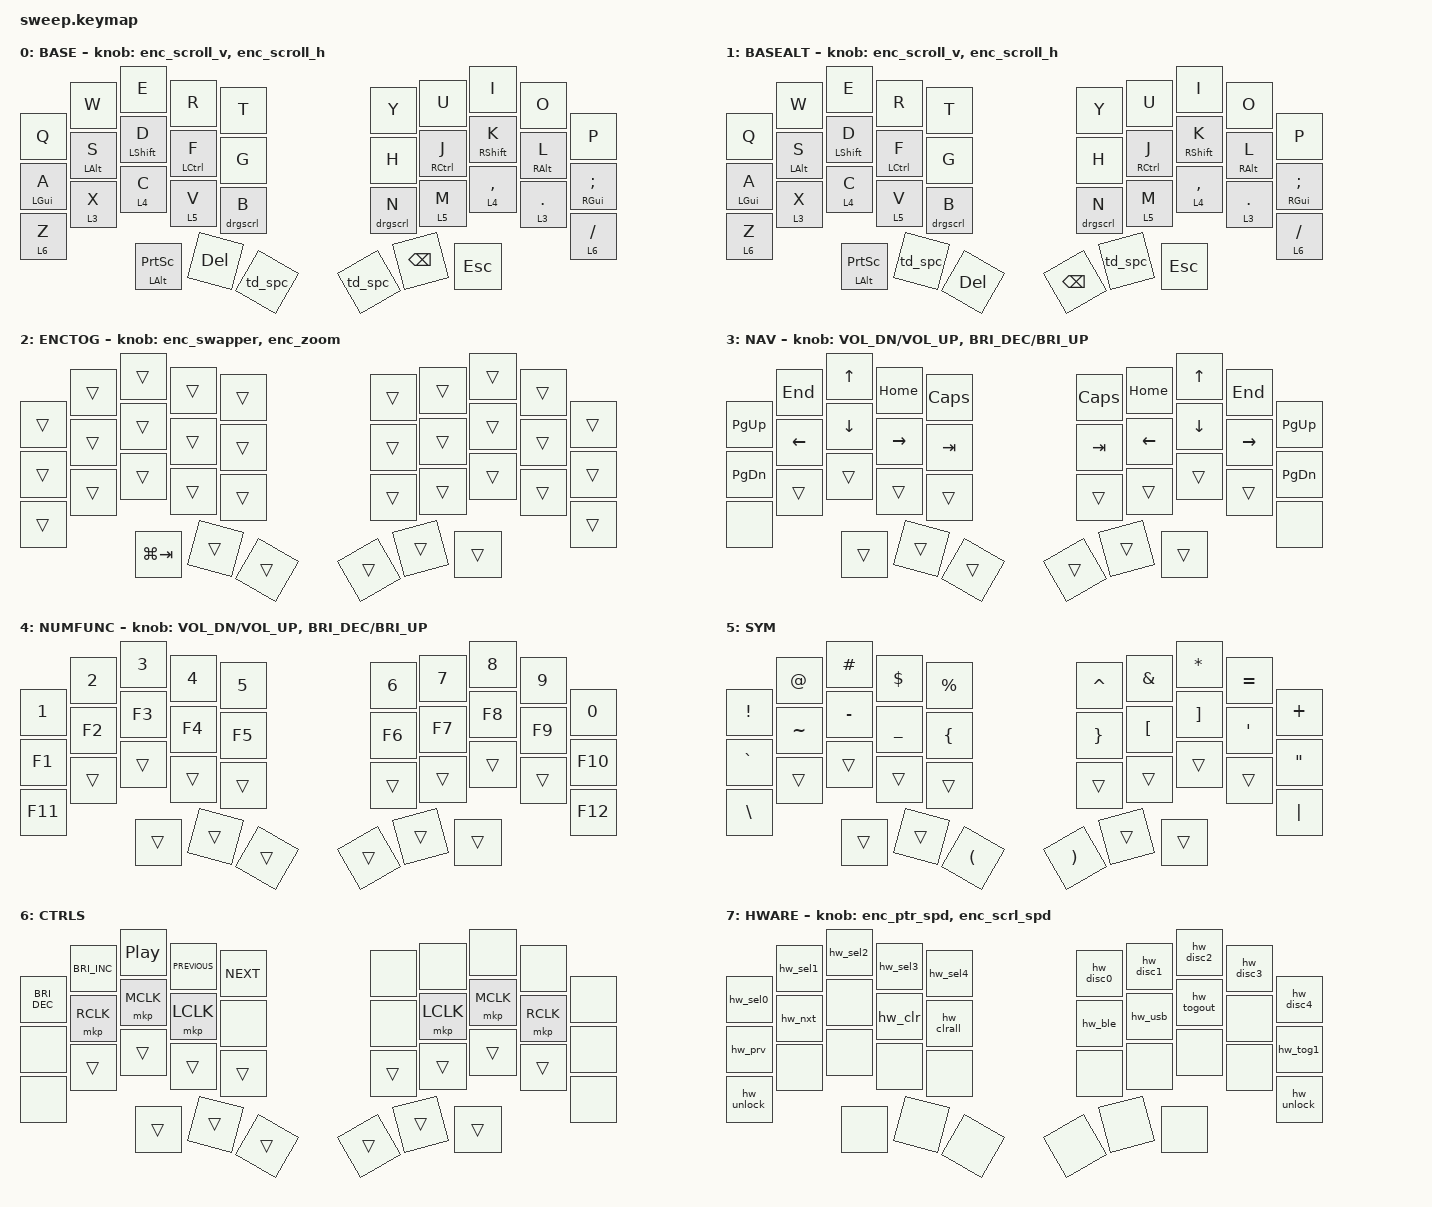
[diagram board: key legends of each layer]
// Copyright (c) 2022 The ZMK Contributors
// SPDX-License-Identifier: MIT

#define ZMK_POINTING_DEFAULT_MOVE_VAL 2500
#define ZMK_POINTING_DEFAULT_SCRL_VAL 240

#include <behaviors.dtsi>
#include <dt-bindings/zmk/bt.h>
#include <dt-bindings/zmk/keys.h>
#include <dt-bindings/zmk/outputs.h>
#include <dt-bindings/zmk/pointing.h>
#include "behaviors/character_map.dtsi"
#include "behaviors/report.dtsi"

// ─── Layer indices ────────────────────────────────────────────────────────────

#define WIN    0   // Base – WIN variant (Ctrl=F/J, GUI=D/K)
#define MAC    1   // Base – QWERTY, GACS home row mods (Mac: Ctrl=D/K, GUI=F/J)
#define ENCTOG 2   // Encoder-alternate (all-trans, sensor-bindings only)
#define NAV    3   // Navigation / arrows  (hold left inner thumb)
#define NUM    4   // Numbers / F-keys     (hold right inner thumb)
#define SYM    5   // Symbols              (tri-layer: NAV+NUM)
#define MOUSE  6   // Mouse / trackpad     (toggle)
#define HWARE  7   // Hardware / BT / output

// ─── Pointing speed constants ─────────────────────────────────────────────────

#define SPEED_POINTER   0
#define SPEED_SCROLL    1
#define SPEED_PREV      0
#define SPEED_NEXT      1
#define SPEED_RESET     2
#define SPEED_FINE_PREV 3
#define SPEED_FINE_NEXT 4

// ─── Cirque mode constants ────────────────────────────────────────────────────

#define CIRQUE_MODE_RELATIVE 0
#define CIRQUE_MODE_ABSOLUTE 1
#define CIRQUE_MODE_TOGGLE   2

&sensors {
    left_encoder { triggers-per-rotation = <15>; };

    right_encoder { triggers-per-rotation = <45>; };
};

&glidepoint_listener { input-processors = <&pointer_processor 0 0 &drag_scroll_processor 1 6>; };

/ {
    // ─── Input processors ─────────────────────────────────────────────────────

    pointer_processor: pointer_processor {
        compatible = "zmk,input-processor-pointer-speed";
        #input-processor-cells = <2>;
        track-remainders;
        pointer-curve = "adaptive";
        pointer-curve-deadzone = <0>;
        pointer-curve-accel-multiplier = <1>;
        pointer-curve-accel-divisor = <24>;
        pointer-curve-max-delta = <64>;
        one-x-multiplier = <1>;
        one-x-divisor = <1>;
        min-percent = <25>;
        max-percent = <400>;
        initial-speed-position = <50>;
    };

    drag_scroll_processor: drag_scroll_processor {
        compatible = "zmk,input-processor-drag-scroll";
        #input-processor-cells = <2>;
        track-remainders;
        native-wheel-axis = "horizontal-when-enabled";
        scroll-min-step = <1>;
        one-x-multiplier = <1>;
        one-x-divisor = <1>;
        min-percent = <10>;
        max-percent = <1000>;
        initial-speed-position = <50>;
    };

    macros {
        macro_zoom_in: macro_zoom_in {
            compatible = "zmk,behavior-macro";
            #binding-cells = <0>;
            wait-ms = <30>;
            tap-ms = <50>;
            bindings
                = <&macro_press &kp LCTRL>
                , <&macro_tap &msc SCRL_UP>
                , <&macro_release &kp LCTRL>
                ;
        };

        macro_zoom_out: macro_zoom_out {
            compatible = "zmk,behavior-macro";
            #binding-cells = <0>;
            wait-ms = <30>;
            tap-ms = <50>;
            bindings
                = <&macro_press &kp LCTRL>
                , <&macro_tap &msc SCRL_DOWN>
                , <&macro_release &kp LCTRL>
                ;
        };

        // ─── HWARE self-exit macros ───────────────────────────────────────────
        // Each macro performs its hardware action, then taps &tog HWARE to turn
        // the HWARE toggle back off. This guarantees the layer is dismissed even
        // for non-keycode behaviors (&bt/&out/&tog/&studio_unlock), which ZMK's
        // sticky-key/auto-layer could not detect (they only see HID keycodes).

        hw_sel0: hw_sel0 {
            compatible = "zmk,behavior-macro";
            #binding-cells = <0>;
            wait-ms = <10>;
            tap-ms = <10>;
            bindings = <&macro_tap &bt BT_SEL 0>, <&macro_tap &tog HWARE>;
        };
        hw_sel1: hw_sel1 {
            compatible = "zmk,behavior-macro";
            #binding-cells = <0>;
            wait-ms = <10>;
            tap-ms = <10>;
            bindings = <&macro_tap &bt BT_SEL 1>, <&macro_tap &tog HWARE>;
        };
        hw_sel2: hw_sel2 {
            compatible = "zmk,behavior-macro";
            #binding-cells = <0>;
            wait-ms = <10>;
            tap-ms = <10>;
            bindings = <&macro_tap &bt BT_SEL 2>, <&macro_tap &tog HWARE>;
        };
        hw_sel3: hw_sel3 {
            compatible = "zmk,behavior-macro";
            #binding-cells = <0>;
            wait-ms = <10>;
            tap-ms = <10>;
            bindings = <&macro_tap &bt BT_SEL 3>, <&macro_tap &tog HWARE>;
        };
        hw_sel4: hw_sel4 {
            compatible = "zmk,behavior-macro";
            #binding-cells = <0>;
            wait-ms = <10>;
            tap-ms = <10>;
            bindings = <&macro_tap &bt BT_SEL 4>, <&macro_tap &tog HWARE>;
        };

        hw_disc0: hw_disc0 {
            compatible = "zmk,behavior-macro";
            #binding-cells = <0>;
            wait-ms = <10>;
            tap-ms = <10>;
            bindings = <&macro_tap &bt BT_DISC 0>, <&macro_tap &tog HWARE>;
        };
        hw_disc1: hw_disc1 {
            compatible = "zmk,behavior-macro";
            #binding-cells = <0>;
            wait-ms = <10>;
            tap-ms = <10>;
            bindings = <&macro_tap &bt BT_DISC 1>, <&macro_tap &tog HWARE>;
        };
        hw_disc2: hw_disc2 {
            compatible = "zmk,behavior-macro";
            #binding-cells = <0>;
            wait-ms = <10>;
            tap-ms = <10>;
            bindings = <&macro_tap &bt BT_DISC 2>, <&macro_tap &tog HWARE>;
        };
        hw_disc3: hw_disc3 {
            compatible = "zmk,behavior-macro";
            #binding-cells = <0>;
            wait-ms = <10>;
            tap-ms = <10>;
            bindings = <&macro_tap &bt BT_DISC 3>, <&macro_tap &tog HWARE>;
        };
        hw_disc4: hw_disc4 {
            compatible = "zmk,behavior-macro";
            #binding-cells = <0>;
            wait-ms = <10>;
            tap-ms = <10>;
            bindings = <&macro_tap &bt BT_DISC 4>, <&macro_tap &tog HWARE>;
        };

        hw_prv: hw_prv {
            compatible = "zmk,behavior-macro";
            #binding-cells = <0>;
            wait-ms = <10>;
            tap-ms = <10>;
            bindings = <&macro_tap &bt BT_PRV>, <&macro_tap &tog HWARE>;
        };
        hw_nxt: hw_nxt {
            compatible = "zmk,behavior-macro";
            #binding-cells = <0>;
            wait-ms = <10>;
            tap-ms = <10>;
            bindings = <&macro_tap &bt BT_NXT>, <&macro_tap &tog HWARE>;
        };
        hw_clr: hw_clr {
            compatible = "zmk,behavior-macro";
            #binding-cells = <0>;
            wait-ms = <10>;
            tap-ms = <10>;
            bindings = <&macro_tap &bt BT_CLR>, <&macro_tap &tog HWARE>;
        };
        hw_clrall: hw_clrall {
            compatible = "zmk,behavior-macro";
            #binding-cells = <0>;
            wait-ms = <10>;
            tap-ms = <10>;
            bindings = <&macro_tap &bt BT_CLR_ALL>, <&macro_tap &tog HWARE>;
        };

        hw_ble: hw_ble {
            compatible = "zmk,behavior-macro";
            #binding-cells = <0>;
            wait-ms = <10>;
            tap-ms = <10>;
            bindings = <&macro_tap &out OUT_BLE>, <&macro_tap &tog HWARE>;
        };
        hw_usb: hw_usb {
            compatible = "zmk,behavior-macro";
            #binding-cells = <0>;
            wait-ms = <10>;
            tap-ms = <10>;
            bindings = <&macro_tap &out OUT_USB>, <&macro_tap &tog HWARE>;
        };
        hw_togout: hw_togout {
            compatible = "zmk,behavior-macro";
            #binding-cells = <0>;
            wait-ms = <10>;
            tap-ms = <10>;
            bindings = <&macro_tap &out OUT_TOG>, <&macro_tap &tog HWARE>;
        };

        hw_tog1: hw_tog1 {
            compatible = "zmk,behavior-macro";
            #binding-cells = <0>;
            wait-ms = <10>;
            tap-ms = <10>;
            bindings = <&macro_tap &tog 1>, <&macro_tap &tog HWARE>;
        };

        hw_unlock: hw_unlock {
            compatible = "zmk,behavior-macro";
            #binding-cells = <0>;
            wait-ms = <10>;
            tap-ms = <10>;
            bindings = <&macro_tap &studio_unlock>, <&macro_tap &tog HWARE>;
        };
    };

    behaviors {
        // ─── Home row mod (hold-tap) ─────────────────────────────────────────
        // Balanced flavor + generous idle guard to avoid accidental mod fires
        // during fast typing with full GACS layout.
        // ─── Layer-tap (used for thumb layer activation) ──────────────────────
        // Tap-preferred so quick thumb taps always register the tap keycode.

        lt_tp: layer_tap_tap_preferred {
            compatible = "zmk,behavior-hold-tap";
            #binding-cells = <2>;
            flavor = "tap-preferred";
            tapping-term-ms = <200>;
            quick-tap-ms = <150>;
            require-prior-idle-ms = <100>;
            bindings = <&mo>, <&kp>;
        };

        // ─── Drag-scroll hold-tap (Z key) ────────────────────────────────────
        // Hold = drag-scroll mode (trackpad → 4-dir scroll), tap = Z

        ds_kp: drag_scroll_kp {
            compatible = "zmk,behavior-hold-tap";
            #binding-cells = <2>;
            flavor = "tap-preferred";
            tapping-term-ms = <200>;
            quick-tap-ms = <150>;
            require-prior-idle-ms = <125>;
            bindings = <&drgscrl>, <&kp>;
        };

        // ─── Select-click hold-tap (X key) ───────────────────────────────────
        // Hold = left-click (for tap-drag via trackpad), tap = X
        // ─── Tap-dance: Space / Enter ─────────────────────────────────────────
        // Single tap = Space, double tap = Enter

        td_spc: tap_dance_space {
            compatible = "zmk,behavior-tap-dance";
            #binding-cells = <0>;
            tapping-term-ms = <250>;
            bindings = <&kp SPACE>, <&kp ENTER>;
        };

        // ─── Drag-scroll behavior ─────────────────────────────────────────────

        drgscrl: drag_scroll {
            compatible = "zmk,behavior-drag-scroll";
            #binding-cells = <0>;
        };

        // ─── Pointing speed behavior ──────────────────────────────────────────

        ptr_spd: pointing_speed {
            compatible = "zmk,behavior-pointing-speed";
            #binding-cells = <2>;
        };

        // ─── Cirque mode behavior ─────────────────────────────────────────────

        crq_mode: crqm {
            compatible = "zmk,behavior-cirque-mode";
            #binding-cells = <1>;
        };

        // ─── Encoder: pointer speed ───────────────────────────────────────────

        enc_ptr_spd: encoder_pointer_speed {
            compatible = "zmk,behavior-sensor-rotate";
            #sensor-binding-cells = <0>;
            bindings =
                <&ptr_spd SPEED_POINTER SPEED_PREV>,
                <&ptr_spd SPEED_POINTER SPEED_NEXT>;
        };

        // ─── Encoder: scroll speed ────────────────────────────────────────────

        enc_scrl_spd: encoder_scroll_speed {
            compatible = "zmk,behavior-sensor-rotate";
            #sensor-binding-cells = <0>;
            bindings =
                <&ptr_spd SPEED_SCROLL SPEED_PREV>,
                <&ptr_spd SPEED_SCROLL SPEED_NEXT>;
        };

        // ─── Encoder: Win window cycle (Alt+Tab) ──────────────────────────────

        enc_win_cycle: encoder_win_cycle {
            compatible = "zmk,behavior-sensor-rotate";
            #sensor-binding-cells = <0>;
            bindings = <&kp LA(LS(TAB))>, <&kp LA(TAB)>;
        };

        // ─── Encoder: Mac app cycle (Cmd+`) ───────────────────────────────────

        enc_mac_cycle: encoder_mac_cycle {
            compatible = "zmk,behavior-sensor-rotate";
            #sensor-binding-cells = <0>;
            bindings = <&kp LG(LS(GRAVE))>, <&kp LG(GRAVE)>;
        };

        // ─── Encoder: Alt+Tab swapper (rotation-driven) ─────────────────────
        // CCW = swapper_alt_rev (Shift+Tab), CW = swapper_alt (Tab). The smart-
        // toggle holds Alt across detents so the Windows switcher overlay stays
        // open while cycling; it releases Alt on any non-ignored key or on
        // ENCTOG layer exit. Encoder press (pos 30) is ignored so it can send
        // Win+Tab without closing the overlay.

        enc_swapper: encoder_swapper {
            compatible = "zmk,behavior-sensor-rotate";
            #sensor-binding-cells = <0>;
            bindings = <&swapper_alt_rev>, <&swapper_alt>;
        };

        // ─── Encoder: horizontal scroll ───────────────────────────────────────

        enc_scroll_h: encoder_scroll_horizontal {
            compatible = "zmk,behavior-sensor-rotate";
            #sensor-binding-cells = <0>;
            bindings = <&msc SCRL_LEFT>, <&msc SCRL_RIGHT>;
            tap-ms = <100>;
        };

        // ─── Encoder: vertical scroll ─────────────────────────────────────────

        enc_scroll_v: encoder_scroll_vertical {
            compatible = "zmk,behavior-sensor-rotate";
            #sensor-binding-cells = <0>;
            bindings = <&msc SCRL_UP>, <&msc SCRL_DOWN>;
            tap-ms = <100>;
        };

        // ─── Encoder: zoom (Ctrl + Mouse Scroll) ─────────────────────────────

        enc_zoom: encoder_zoom {
            compatible = "zmk,behavior-sensor-rotate";
            #sensor-binding-cells = <0>;
            bindings = <&macro_zoom_out>, <&macro_zoom_in>;
        };

        hml: hml {
            compatible = "zmk,behavior-hold-tap";
            #binding-cells = <2>;
            flavor = "balanced";
            tapping-term-ms = <200>;
            quick-tap-ms = <150>;
            require-prior-idle-ms = <100>;
            bindings = <&kp>, <&kp>;

            label = "HML";
            hold-trigger-key-positions = <5 6 7 8 9 15 16 17 18 19 25 26 27 28 29>;
            hold-trigger-on-release;
        };

        hmr: hmr {
            compatible = "zmk,behavior-hold-tap";
            #binding-cells = <2>;
            flavor = "balanced";
            tapping-term-ms = <200>;
            quick-tap-ms = <150>;
            require-prior-idle-ms = <100>;
            bindings = <&kp>, <&kp>;

            label = "HMR";
            hold-trigger-key-positions = <1 3 4 11 12 13 14 21 22 23 24 0 1 2 3 4 10 11 12 13 14 20 21 22 23 24>;
            hold-trigger-on-release;
        };

        sel_x: sel_x {
            compatible = "zmk,behavior-hold-tap";
            label = "SEL_X";
            bindings = <&mkp>, <&kp>;

            #binding-cells = <2>;
            tapping-term-ms = <200>;
            quick-tap-ms = <150>;
            require-prior-idle-ms = <125>;
            flavor = "tap-preferred";
        };

        hrsc: hrsc {
            compatible = "zmk,behavior-hold-tap";
            #binding-cells = <2>;
            flavor = "balanced";
            tapping-term-ms = <200>;
            bindings = <&kp>, <&kp>;

            label = "HRSC";
            hold-trigger-on-release;
        };

        // ─── MMV / MSC tweaks ─────────────────────────────────────────────────

        mmv {
            acceleration-exponent = <1>;
            time-to-max-speed-ms = <300>;
            delay-ms = <0>;
        };

        msc {
            acceleration-exponent = <0>;
            time-to-max-speed-ms = <40>;
            delay-ms = <0>;
        };

        // ─── Win sticky-key (combo trigger) ──────────────────────────────────
        // Fires LGUI immediately; awaits a chord key for up to 5 s.
        // - 2nd key pressed       → Win+key chord, LGUI releases (quick-release)
        // - Escape pressed        → Win+Esc (no-op on Windows), effectively cancel
        // - 5 s timeout, no key   → LGUI releases alone → Start menu opens

        sk_win: sk_win {
            compatible = "zmk,behavior-sticky-key";
            #binding-cells = <1>;
            release-after-ms = <5000>;
            bindings = <&kp>;
            quick-release;
        };

        // ─── Hardware-layer sticky (combo trigger) ───────────────────────────
        // Removed sl_hw: ZMK sticky-key only reacts to HID keycode presses, and
        // the HWARE layer has only &bt/&out/&tog/&studio_unlock keys (no keycode
        // events), so it never released on those presses. HWARE is now a plain
        // &tog toggle; each HWARE key self-exits the layer (see macros below).

        // ─── Smart-toggle Alt+Tab swapper (CW) ───────────────────────────────
        // First invocation: holds Alt + taps Tab (Windows switcher overlay).
        // Subsequent invocations: taps Tab only (Alt stays held → overlay stays).
        // Deactivation: any non-ignored key press, or ENCTOG layer exit → Alt off.
        // Ignored positions: 30 (encoder press = Win+Tab), 31/34 (ENCTOG combo).

        swapper_alt: swapper_alt {
            compatible = "zmk,behavior-smart-toggle";
            #binding-cells = <0>;
            bindings = <&kp LALT>, <&kp TAB>;
            ignored-key-positions = <30 31 34>;
        };

        // ─── Smart-toggle Alt+Tab swapper (CCW / reverse) ────────────────────
        // Same Alt-hold session but cycles backwards with Shift+Tab.

        swapper_alt_rev: swapper_alt_rev {
            compatible = "zmk,behavior-smart-toggle";
            #binding-cells = <0>;
            bindings = <&kp LALT>, <&kp LS(TAB)>;
            ignored-key-positions = <30 31 34>;
        };
    };

    // ─── Combos ───────────────────────────────────────────────────────────────
    // Key positions:
    //  Row 0:  0  1  2  3  4    5  6  7  8  9   (Q W E R T | Y U I O P)
    //  Row 1: 10 11 12 13 14   15 16 17 18 19   (A S D F G | H J K L BSPC)
    //  Row 2: 20 21 22 23 24   25 26 27 28 29   (Z X C V B | N M , . /)
    //  Row 3: 30 31 32          33 34 35         (ENC T1 T2 | T3 T4 T5)

    combos {
        compatible = "zmk,combos";

        // ── Mouse button combos (left hand, active on base + mouse layers) ────
        // ── Symbol combos (right hand, active on base layers) ─────────────────
        // ── Quick Escape combo (WE, left hand) ───────────────────────────────
        // ── Hardware layer toggle (inner thumbs: DELETE + BACKSPACE) ─────────
        // Plain &tog HWARE. Each HWARE key self-exits the layer after its
        // action, so there is no "stuck layer" problem; the combo can also be
        // pressed again (active on layer 7) to dismiss HWARE manually.

        combo_hw_toggle {
            bindings = <&tog HWARE>;
            key-positions = <32 33>;
            timeout-ms = <50>;
            layers = <0 1 2 7>;
        };

        combo_enc_toggle {
            bindings = <&tog 2>;
            key-positions = <31 34>;
            timeout-ms = <50>;
            layers = <0 1 2>;
        };

        // ── Win sticky-key combo (both pinkies: A + ;) ────────────────────────
        // Activates sk_win LGUI: hold for chord (Win+key), Esc to cancel,
        // or let the 5 s timeout expire to open Start menu.

        combo_oneshot_gui {
            bindings = <&sk_win LGUI>;
            key-positions = <10 19>;
            timeout-ms = <50>;
            layers = <0 1>;
        };

        // ── Mouse click combos (left-hand bottom row, active on base + mouse layers) ─
        // X+C = right-click (pos 21+22), C+V = middle-click (pos 22+23)

        combo_rclk {
            bindings = <&mkp RCLK>;
            key-positions = <21 22>;
            timeout-ms = <50>;
            layers = <0 1 6>;
        };

        combo_mclk {
            bindings = <&mkp MCLK>;
            key-positions = <22 23>;
            timeout-ms = <50>;
            layers = <0 1 6>;
        };
    };

    keymap {
        compatible = "zmk,keymap";

        // ─────────────────────────────────────────────────────────────────────
        // Layer 0: BASE – Win
        // Home row GACS (left):  A=GUI  S=ALT  D=SHIFT  F=CTRL
        // Home row GACS (right): J=CTRL  K=SHIFT  L=ALT  ;=GUI
        // ─────────────────────────────────────────────────────────────────────

        base_layer {
            display-name = "BASE";
            bindings = <
&kp Q        &kp W        &kp E                  &kp R          &kp T       &kp Y       &kp U          &kp I                &kp O            &kp P
&hml LGUI A  &hml LALT S  &hrsc LEFT_SHIFT D     &hrsc LCTRL F  &kp G       &kp H       &hrsc RCTRL J  &hrsc RIGHT_SHIFT K  &hmr RALT L      &hmr RGUI SEMI
&lt_tp 6 Z   &lt_tp 3 X   &lt_tp 4 C             &lt_tp 5 V     &ds_kp 0 B  &ds_kp 0 N  &lt_tp 5 M     &lt_tp 4 COMMA       &lt_tp 3 PERIOD  &lt_tp 6 SLASH
                          &hml LALT PRINTSCREEN  &kp DELETE     &td_spc     &td_spc     &kp BACKSPACE  &kp ESCAPE
            >;

            sensor-bindings = <&enc_scroll_v &enc_scroll_h>;
        };

        base_alt_layer {
            display-name = "BASEALT";
            bindings = <
&kp Q        &kp W        &kp E                  &kp R          &kp T       &kp Y          &kp U          &kp I                &kp O            &kp P
&hml LGUI A  &hml LALT S  &hrsc LEFT_SHIFT D     &hrsc LCTRL F  &kp G       &kp H          &hrsc RCTRL J  &hrsc RIGHT_SHIFT K  &hmr RALT L      &hmr RGUI SEMI
&lt_tp 6 Z   &lt_tp 3 X   &lt_tp 4 C             &lt_tp 5 V     &ds_kp 0 B  &ds_kp 0 N     &lt_tp 5 M     &lt_tp 4 COMMA       &lt_tp 3 PERIOD  &lt_tp 6 SLASH
                          &hml LALT PRINTSCREEN  &td_spc        &kp DELETE  &kp BACKSPACE  &td_spc        &kp ESCAPE
            >;

            sensor-bindings = <&enc_scroll_v &enc_scroll_h>;
        };

        // ─────────────────────────────────────────────────────────────────────
        // Layer 2: ENCTOG – Encoder alternate mode
        // All keys transparent (see-through to base WIN/WINALT).
        // Only sensor-bindings change: left=Alt+Tab swapper, right=zoom.
        // Encoder press (pos 30) = Win+Tab (Task View / workspace selector).
        // Toggled via inner thumb combo (pos 31+34).
        // ─────────────────────────────────────────────────────────────────────

        enc_alt_layer {
            display-name = "ENCTOG";
            bindings = <
&trans  &trans  &trans                 &trans  &trans  &trans  &trans  &trans  &trans  &trans
&trans  &trans  &trans                 &trans  &trans  &trans  &trans  &trans  &trans  &trans
&trans  &trans  &trans                 &trans  &trans  &trans  &trans  &trans  &trans  &trans
                &kp LG(TAB)            &trans  &trans  &trans  &trans  &trans
            >;

            sensor-bindings = <&enc_swapper &enc_zoom>;
        };

        nav_layer {
            display-name = "NAV";
            bindings = <
&kp PAGE_UP    &kp END   &kp UP    &kp HOME   &kp CAPS  &kp CAPS  &kp HOME  &kp UP    &kp END    &kp PAGE_UP
&kp PAGE_DOWN  &kp LEFT  &kp DOWN  &kp RIGHT  &kp TAB   &kp TAB   &kp LEFT  &kp DOWN  &kp RIGHT  &kp PAGE_DOWN
&none          &trans    &trans    &trans     &trans    &trans    &trans    &trans    &trans     &none
                         &trans    &trans     &trans    &trans    &trans    &trans
            >;

            sensor-bindings = <&inc_dec_kp C_VOL_DN C_VOL_UP &inc_dec_kp C_BRI_DEC C_BRI_UP>;
        };

        num_layer {
            display-name = "NUMFUNC";
            bindings = <
&kp N1   &kp N2  &kp N3  &kp N4  &kp N5  &kp N6  &kp N7  &kp N8  &kp N9  &kp N0
&kp F1   &kp F2  &kp F3  &kp F4  &kp F5  &kp F6  &kp F7  &kp F8  &kp F9  &kp F10
&kp F11  &trans  &trans  &trans  &trans  &trans  &trans  &trans  &trans  &kp F12
                 &trans  &trans  &trans  &trans  &trans  &trans
            >;

            sensor-bindings = <&inc_dec_kp C_VOL_DN C_VOL_UP &inc_dec_kp C_BRI_DEC C_BRI_UP>;
        };

        sym_layer {
            bindings = <
&kp EXCL       &kp AT_SIGN  &kp HASH   &kp DOLLAR      &kp PERCENT           &kp CARET              &kp AMPERSAND  &kp ASTERISK  &kp EQUAL  &kp PLUS
&kp GRAVE      &kp TILDE    &kp MINUS  &kp UNDERSCORE  &kp LEFT_BRACE        &kp RIGHT_BRACE        &kp LBKT       &kp RBKT      &kp SQT    &kp DOUBLE_QUOTES
&kp BACKSLASH  &trans       &trans     &trans          &trans                &trans                 &trans         &trans        &trans     &kp PIPE
                            &trans     &trans          &kp LEFT_PARENTHESIS  &kp RIGHT_PARENTHESIS  &trans         &trans
            >;

            label = "SYM";
        };

        controls_layer {
            bindings = <
&kp C_BRIGHTNESS_DEC  &kp C_BRIGHTNESS_INC  &kp C_PLAY_PAUSE  &kp C_PREVIOUS  &kp C_NEXT  &none   &none      &none      &none      &none
&none                 &mkp RCLK             &mkp MCLK         &mkp LCLK       &none       &none   &mkp LCLK  &mkp MCLK  &mkp RCLK  &none
&none                 &trans                &trans            &trans          &trans      &trans  &trans     &trans     &trans     &none
                                            &trans            &trans          &trans      &trans  &trans     &trans
            >;

            label = "CTRLS";
        };

        hardware_layer {
            display-name = "HWARE";
            bindings = <
&hw_sel0    &hw_sel1  &hw_sel2  &hw_sel3  &hw_sel4    &hw_disc0  &hw_disc1  &hw_disc2   &hw_disc3  &hw_disc4
&hw_prv     &hw_nxt   &none     &hw_clr   &hw_clrall  &hw_ble    &hw_usb    &hw_togout  &none      &hw_tog1
&hw_unlock  &none     &none     &none     &none       &none      &none      &none       &none      &hw_unlock
                      &none     &none     &none       &none      &none      &none
            >;

            sensor-bindings = <&enc_ptr_spd &enc_scrl_spd>;
        };
    };
};
